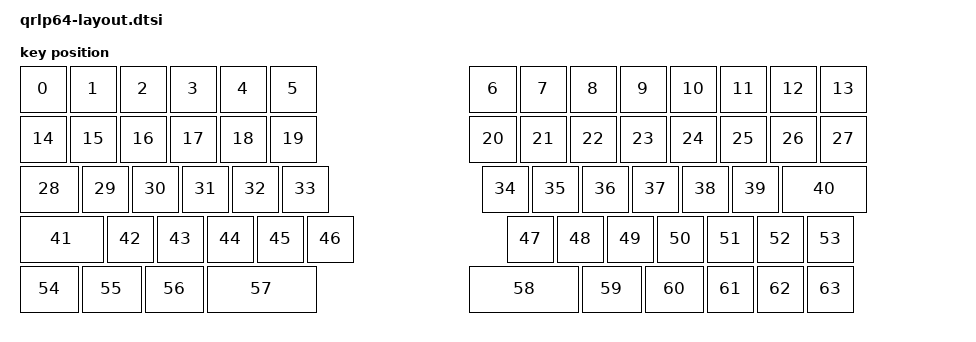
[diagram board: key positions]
#include <physical_layouts.dtsi>

/ {
    physical_layout0: physical_layout_0 {
        compatible = "zmk,physical-layout";
        display-name = "default_transform";
        transform = <&default_transform>;

        keys  //                     w   h    x    y     rot    rx    ry
            = <&key_physical_attrs 100 100    0    0       0     0     0>
            , <&key_physical_attrs 100 100  100    0       0     0     0>
            , <&key_physical_attrs 100 100  200    0       0     0     0>
            , <&key_physical_attrs 100 100  300    0       0     0     0>
            , <&key_physical_attrs 100 100  400    0       0     0     0>
            , <&key_physical_attrs 100 100  500    0       0     0     0>
            , <&key_physical_attrs 100 100  900    0       0     0     0>
            , <&key_physical_attrs 100 100 1000    0       0     0     0>
            , <&key_physical_attrs 100 100 1100    0       0     0     0>
            , <&key_physical_attrs 100 100 1200    0       0     0     0>
            , <&key_physical_attrs 100 100 1300    0       0     0     0>
            , <&key_physical_attrs 100 100 1400    0       0     0     0>
            , <&key_physical_attrs 100 100 1500    0       0     0     0>
            , <&key_physical_attrs 100 100 1600    0       0     0     0>
            , <&key_physical_attrs 100 100    0  100       0     0     0>
            , <&key_physical_attrs 100 100  100  100       0     0     0>
            , <&key_physical_attrs 100 100  200  100       0     0     0>
            , <&key_physical_attrs 100 100  300  100       0     0     0>
            , <&key_physical_attrs 100 100  400  100       0     0     0>
            , <&key_physical_attrs 100 100  500  100       0     0     0>
            , <&key_physical_attrs 100 100  900  100       0     0     0>
            , <&key_physical_attrs 100 100 1000  100       0     0     0>
            , <&key_physical_attrs 100 100 1100  100       0     0     0>
            , <&key_physical_attrs 100 100 1200  100       0     0     0>
            , <&key_physical_attrs 100 100 1300  100       0     0     0>
            , <&key_physical_attrs 100 100 1400  100       0     0     0>
            , <&key_physical_attrs 100 100 1500  100       0     0     0>
            , <&key_physical_attrs 100 100 1600  100       0     0     0>
            , <&key_physical_attrs 125 100    0  200       0     0     0>
            , <&key_physical_attrs 100 100  125  200       0     0     0>
            , <&key_physical_attrs 100 100  225  200       0     0     0>
            , <&key_physical_attrs 100 100  325  200       0     0     0>
            , <&key_physical_attrs 100 100  425  200       0     0     0>
            , <&key_physical_attrs 100 100  525  200       0     0     0>
            , <&key_physical_attrs 100 100  925  200       0     0     0>
            , <&key_physical_attrs 100 100 1025  200       0     0     0>
            , <&key_physical_attrs 100 100 1125  200       0     0     0>
            , <&key_physical_attrs 100 100 1225  200       0     0     0>
            , <&key_physical_attrs 100 100 1325  200       0     0     0>
            , <&key_physical_attrs 100 100 1425  200       0     0     0>
            , <&key_physical_attrs 175 100 1525  200       0     0     0>
            , <&key_physical_attrs 175 100    0  300       0     0     0>
            , <&key_physical_attrs 100 100  175  300       0     0     0>
            , <&key_physical_attrs 100 100  275  300       0     0     0>
            , <&key_physical_attrs 100 100  375  300       0     0     0>
            , <&key_physical_attrs 100 100  475  300       0     0     0>
            , <&key_physical_attrs 100 100  575  300       0     0     0>
            , <&key_physical_attrs 100 100  975  300       0     0     0>
            , <&key_physical_attrs 100 100 1075  300       0     0     0>
            , <&key_physical_attrs 100 100 1175  300       0     0     0>
            , <&key_physical_attrs 100 100 1275  300       0     0     0>
            , <&key_physical_attrs 100 100 1375  300       0     0     0>
            , <&key_physical_attrs 100 100 1475  300       0     0     0>
            , <&key_physical_attrs 100 100 1575  300       0     0     0>
            , <&key_physical_attrs 125 100    0  400       0     0     0>
            , <&key_physical_attrs 125 100  125  400       0     0     0>
            , <&key_physical_attrs 125 100  250  400       0     0     0>
            , <&key_physical_attrs 225 100  375  400       0     0     0>
            , <&key_physical_attrs 225 100  900  400       0     0     0>
            , <&key_physical_attrs 125 100 1125  400       0     0     0>
            , <&key_physical_attrs 125 100 1250  400       0     0     0>
            , <&key_physical_attrs 100 100 1375  400       0     0     0>
            , <&key_physical_attrs 100 100 1475  400       0     0     0>
            , <&key_physical_attrs 100 100 1575  400       0     0     0>
            ;
    };
};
